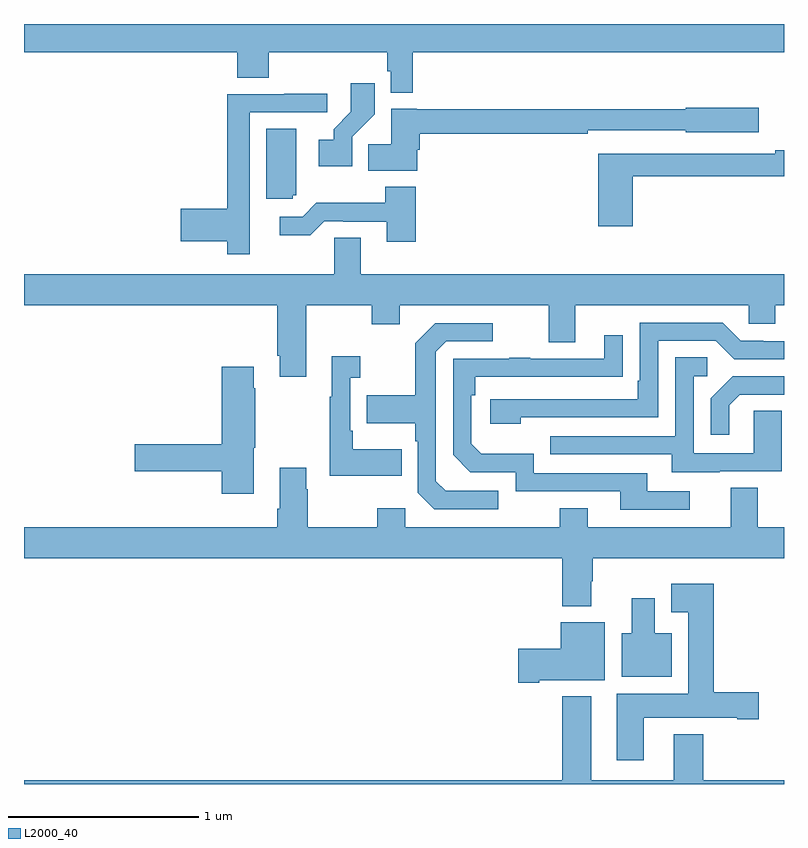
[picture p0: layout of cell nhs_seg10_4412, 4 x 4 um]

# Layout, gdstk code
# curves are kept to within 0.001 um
import gdstk
lib = gdstk.Library(unit=1e-6, precision=1e-09)
def P(c, l, *ps):  # polygons
    for p in ps: c.add(gdstk.Polygon(p, *l))
L2000_40 = (2000, 40)

nhs_seg10_4412 = lib.new_cell('nhs_seg10_4412')
P(nhs_seg10_4412, L2000_40, [(363.047,1264.352),(365,1264.352),(365,1264.5),(361,1264.5),(361,1264.352),(362.123,1264.352),(362.123,1264.216),(362.288,1264.216),(362.288,1264.352),(362.911,1264.352),(362.911,1264.251),(362.931,1264.251),(362.931,1264.139),(363.047,1264.139)],
  [(362.727,1263.907),(362.846,1264.026),(362.846,1264.189),(362.721,1264.189),(362.721,1264.037),(362.63,1263.947),(362.63,1263.892),(362.55,1263.892),(362.55,1263.752),(362.727,1263.752)],
  [(362.188,1263.51),(362.187,1263.51),(362.187,1264.035),(362.596,1264.035),(362.596,1264.134),(362.371,1264.134),(362.371,1264.131),(362.071,1264.131),(362.071,1263.527),(361.824,1263.527),(361.824,1263.356),(362.071,1263.356),(362.071,1263.288),(362.188,1263.288)],
  [(363.07,1263.839),(363.083,1263.839),(363.083,1263.922),(363.968,1263.922),(363.968,1263.942),(364.482,1263.942),(364.482,1263.929),(364.867,1263.929),(364.867,1264.059),(364.482,1264.059),(364.482,1264.051),(363.066,1264.051),(363.066,1264.054),(362.933,1264.054),(362.933,1263.866),(362.812,1263.866),(362.812,1263.728),(363.07,1263.728)],
  [(362.415,1263.6),(362.434,1263.6),(362.434,1263.949),(362.276,1263.949),(362.276,1263.579),(362.415,1263.579)],
  [(364.205,1263.7),(365,1263.7),(365,1263.836),(364.954,1263.836),(364.954,1263.816),(364.022,1263.816),(364.022,1263.435),(364.205,1263.435)],
  [(363.062,1263.643),(362.902,1263.643),(362.902,1263.559),(362.539,1263.559),(362.466,1263.486),(362.346,1263.486),(362.346,1263.389),(362.507,1263.389),(362.58,1263.462),(362.68,1263.462),(362.68,1263.459),(362.909,1263.459),(362.909,1263.354),(363.062,1263.354)],
  [(362.485,1263.02),(362.83,1263.02),(362.83,1262.921),(362.977,1262.921),(362.977,1263.02),(363.761,1263.02),(363.761,1262.826),(363.901,1262.826),(363.901,1263.02),(364.815,1263.02),(364.815,1262.922),(364.953,1262.922),(364.953,1263.02),(365,1263.02),(365,1263.184),(362.773,1263.184),(362.773,1263.374),(362.634,1263.374),(362.634,1263.184),(361,1263.184),(361,1263.02),(362.333,1263.02),(362.333,1262.755),(362.345,1262.755),(362.345,1262.643),(362.485,1262.643)],
  [(363.614,1262.43),(364.338,1262.43),(364.338,1262.832),(364.641,1262.832),(364.737,1262.736),(365,1262.736),(365,1262.829),(364.892,1262.829),(364.892,1262.832),(364.773,1262.832),(364.677,1262.928),(364.242,1262.928),(364.242,1262.623),(364.229,1262.623),(364.229,1262.526),(363.453,1262.526),(363.453,1262.396),(363.614,1262.396)],
  [(363.496,1262.043),(363.219,1262.043),(363.168,1262.094),(363.168,1262.775),(363.222,1262.829),(363.466,1262.829),(363.466,1262.925),(363.165,1262.925),(363.06,1262.819),(363.06,1262.547),(362.803,1262.547),(362.803,1262.399),(363.06,1262.399),(363.06,1262.303),(363.072,1262.303),(363.072,1262.034),(363.159,1261.947),(363.496,1261.947)],
  [(364.504,1262.04),(364.279,1262.04),(364.279,1262.136),(363.684,1262.136),(363.684,1262.239),(363.407,1262.239),(363.354,1262.292),(363.354,1262.546),(363.374,1262.546),(363.374,1262.643),(364.151,1262.644),(364.151,1262.863),(364.055,1262.863),(364.055,1262.739),(363.665,1262.739),(363.665,1262.744),(363.553,1262.744),(363.553,1262.739),(363.258,1262.739),(363.258,1262.232),(363.348,1262.142),(363.588,1262.142),(363.588,1262.04),(364.139,1262.04),(364.139,1261.944),(364.504,1261.944)],
  [(362.987,1262.263),(362.731,1262.263),(362.731,1262.359),(362.718,1262.359),(362.718,1262.639),(362.77,1262.639),(362.77,1262.752),(362.621,1262.752),(362.621,1262.539),(362.61,1262.539),(362.61,1262.123),(362.987,1262.123)],
  [(364.663,1262.145),(364.987,1262.145),(364.987,1262.465),(364.842,1262.465),(364.842,1262.241),(364.524,1262.241),(364.524,1262.646),(364.597,1262.646),(364.597,1262.747),(364.428,1262.747),(364.428,1262.331),(363.769,1262.331),(363.769,1262.235),(364.409,1262.235),(364.409,1262.141),(364.663,1262.141)],
  [(362.209,1262.271),(362.217,1262.271),(362.217,1262.582),(362.209,1262.582),(362.209,1262.695),(362.042,1262.695),(362.042,1262.288),(361.584,1262.288),(361.584,1262.146),(362.042,1262.146),(362.042,1262.028),(362.209,1262.028)],
  [(364.711,1262.493),(364.768,1262.55),(365,1262.55),(365,1262.646),(364.73,1262.646),(364.614,1262.53),(364.614,1262.337),(364.711,1262.337)],
  [(363.833,1261.436),(363.985,1261.436),(363.985,1261.568),(363.993,1261.568),(363.993,1261.688),(365,1261.688),(365,1261.852),(364.861,1261.852),(364.861,1262.06),(364.721,1262.06),(364.721,1261.852),(363.967,1261.852),(363.967,1261.951),(363.82,1261.951),(363.82,1261.852),(363.006,1261.852),(363.006,1261.951),(362.86,1261.951),(362.86,1261.852),(362.493,1261.852),(362.493,1262.051),(362.485,1262.051),(362.485,1262.164),(362.345,1262.164),(362.345,1261.948),(362.333,1261.948),(362.333,1261.852),(361,1261.852),(361,1261.688),(363.833,1261.688)],
  [(364.261,1260.848),(364.754,1260.848),(364.754,1260.841),(364.867,1260.841),(364.867,1260.983),(364.631,1260.983),(364.631,1261.555),(364.406,1261.555),(364.406,1261.403),(364.496,1261.403),(364.496,1260.976),(364.121,1260.976),(364.121,1260.624),(364.261,1260.624)],
  [(364.408,1261.294),(364.321,1261.294),(364.321,1261.477),(364.199,1261.477),(364.199,1261.294),(364.145,1261.294),(364.145,1261.064),(364.408,1261.064)],
  [(363.712,1261.046),(364.057,1261.046),(364.057,1261.351),(363.824,1261.351),(363.824,1261.212),(363.6,1261.212),(363.6,1261.034),(363.712,1261.034)],
  [(365,1260.52),(364.574,1260.52),(364.574,1260.763),(364.421,1260.763),(364.421,1260.52),(363.985,1260.52),(363.985,1260.961),(363.833,1260.961),(363.833,1260.52),(361,1260.52),(361,1260.5),(365,1260.5)])

lib.write_gds('nhs_seg10_4412.gds')
